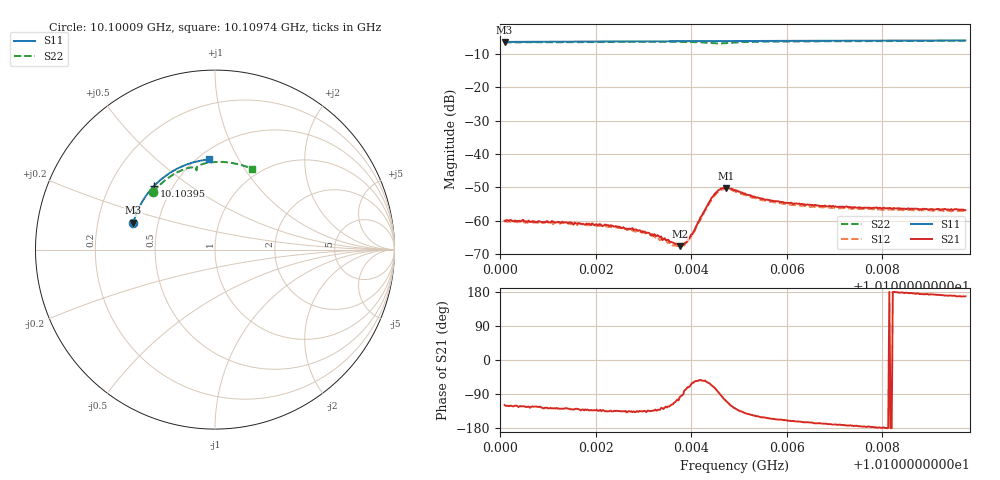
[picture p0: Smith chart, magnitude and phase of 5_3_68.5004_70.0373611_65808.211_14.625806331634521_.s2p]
#  HZ  S  RI  R  50.00
! Rohde & Schwarz Vector Network Analyzer
! Rohde-Schwarz,ZNB20-2Port,1311601062101988,3.16
! Created: UTC 3/20/2024, 5:03:56 PM
! freq[Hz]  re:S11  im:S11  re:S21  im:S21  re:S12  im:S12  re:S22  im:S22
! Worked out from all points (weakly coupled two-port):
!   401 points, 10.10009 GHz to 10.10974 GHz, reference 50 ohm
!   highest |S21| = -50.14 dB at 10.10472 GHz (marker M1); lowest = -67.6 dB at 10.10376 GHz (marker M2)
!   lowest |S11| = -6.4 dB at 10.10009 GHz (marker M3), VSWR 2.84, Z = 18 + j7.05 ohm
!   |S11| at or under -10 dB: nowhere
!   |S22| runs from -6.9 to -6.1 dB; largest |S21 - S12| = 0.00033
!   S11 on the Smith chart (normalised r, x): 10.10009 GHz: 0.36, +0.14; 10.10395 GHz: 0.40, +0.37; 10.10974 GHz: 0.57, +0.76
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1.0100088e10  -0.4543 0.1507  -0.000482 -0.000875  -0.000407 -0.000891  -0.3463 0.3196
1.0101705e10  -0.4189 0.2425  -0.000589 -0.000674  -0.000537 -0.000706  -0.2711 0.3917
1.010226e10  -0.4025 0.2719  -0.000612 -0.000603  -0.000534 -0.000604  -0.2413 0.4125
1.0102621e10  -0.3907 0.2904  -0.000529 -0.000541  -0.000501 -0.000583  -0.2208 0.4247
1.0102959e10  -0.379 0.3073  -0.000482 -0.000472  -0.000427 -0.000513  -0.201 0.4353
1.0103321e10  -0.3656 0.3247  -0.000385 -0.00044  -0.000305 -0.00043  -0.1786 0.4453
1.0103611e10  -0.3544 0.3381  -0.000214 -0.000419  -0.000154 -0.000398  -0.1595 0.4523
1.0103755e10  -0.3485 0.3447  -5.92e-05 -0.000412  -8.94e-06 -0.000424  -0.1494 0.4552
1.0103852e10  -0.3444 0.3491  7.59e-05 -0.000448  8.39e-05 -0.000419  -0.1424 0.4567
1.0103948e10  -0.3405 0.3534  0.000171 -0.000516  0.000208 -0.000481  -0.1352 0.458
1.0104069e10  -0.3354 0.3586  0.000405 -0.000606  0.000444 -0.000551  -0.1258 0.4583
1.010431e10  -0.325 0.3689  0.000856 -0.00133  0.000935 -0.00117  -0.1074 0.4541
1.0104455e10  -0.3185 0.3749  0.00079 -0.00219  0.000963 -0.00203  -0.1009 0.447
1.01046e10  -0.3121 0.3807  3.44e-07 -0.00297  0.000241 -0.00283  -0.1028 0.4421
1.010472e10  -0.3068 0.3856  -0.000947 -0.00297  -0.000656 -0.00291  -0.1059 0.446
1.0104913e10  -0.2981 0.3931  -0.00175 -0.00228  -0.00148 -0.00234  -0.1016 0.4581
1.0105251e10  -0.2819 0.4059  -0.00196 -0.00137  -0.00173 -0.00144  -0.0805 0.4727
1.0105565e10  -0.2666 0.4172  -0.00185 -0.000956  -0.0017 -0.00106  -0.0589 0.4798
1.0105951e10  -0.2471 0.43  -0.00173 -0.000696  -0.00161 -0.000805  -0.0328 0.4847
1.010653e10  -0.2168 0.4475  -0.00167 -0.000445  -0.00154 -0.000543  0.00563 0.4881
1.0108146e10  -0.1262 0.4844  -0.00155 1.41e-05  -0.00147 -0.000153  0.1097 0.48
1.0109738e10  -0.0318 0.502  -0.00141 0.000298  -0.00141 0.000176  0.2065 0.4505
